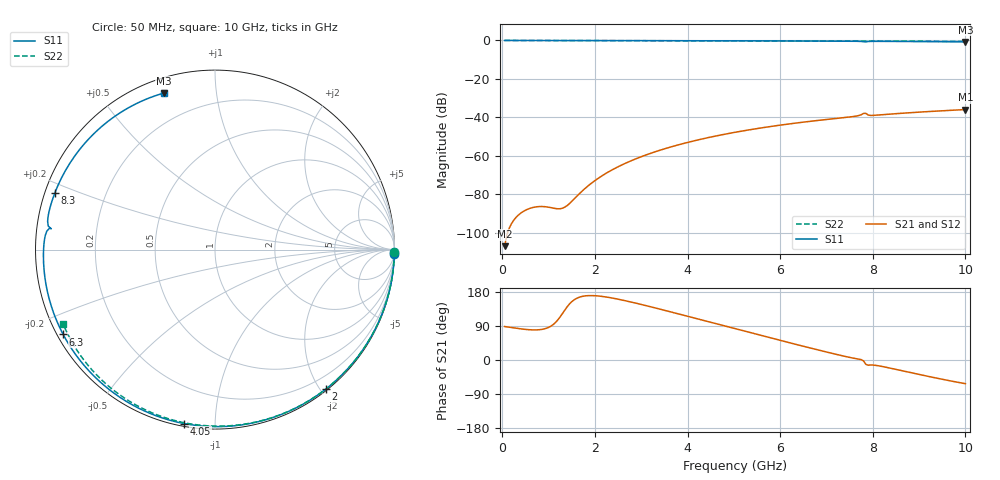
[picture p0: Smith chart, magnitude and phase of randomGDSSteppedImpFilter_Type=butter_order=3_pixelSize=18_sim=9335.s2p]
! freq	dB(S11)	phase(S11)	dB(S12)	phase(S12)
!  dB(S21)	phase(S21)	dB(S22)	phase(S22)
!S-par simulation data
#  GHz  S  DB  R 50
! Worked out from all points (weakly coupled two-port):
!   200 points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, 50 MHz to 10 GHz, reference 50 ohm
!   highest |S21| = -35.94 dB at 10 GHz (marker M1); lowest = -107.0 dB at 50 MHz (marker M2)
!   lowest |S11| = -0.7 dB at 10 GHz (marker M3), VSWR 23.23, Z = 3.28 + j36.2 ohm
!   |S11| at or under -10 dB: nowhere
!   |S22| runs from -0.5 to 0.0 dB; largest |S21 - S12| = 0
!   S11 on the Smith chart (normalised r, x): 50 MHz: 1, -86; 2 GHz: 0.02, -2.08; 4.05 GHz: 0.01, -0.84; 6.3 GHz: 0.02, -0.26; 8.3 GHz: 0.03, +0.17; 10 GHz: 0.07, +0.72
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0.05  -0.00 -1.3  -106.98 88.3  -106.98 88.3  -0.00 -0.9
0.8  -0.02 -20.9  -86.38 79.9  -86.38 79.9  -0.02 -14.3
1.65  -0.05 -42.6  -80.04 165.0  -80.04 165.0  -0.04 -29.2
1.75  -0.06 -45.2  -77.76 168.4  -77.76 168.4  -0.04 -30.9
2  -0.06 -51.4  -72.88 169.7  -72.88 169.7  -0.05 -35.2
2.3  -0.07 -58.8  -68.26 165.1  -68.26 165.1  -0.05 -40.3
2.6  -0.08 -66.1  -64.52 157.9  -64.52 157.9  -0.06 -45.4
3.4  -0.11 -85.1  -57.12 134.4  -57.12 134.4  -0.08 -58.6
4.05  -0.14 -100.1  -52.73 113.8  -52.73 113.8  -0.10 -69.0
5.05  -0.19 -122.7  -47.65 81.8  -47.65 81.8  -0.13 -84.4
5.7  -0.23 -137.2  -45.08 61.2  -45.08 61.2  -0.16 -94.1
6.3  -0.27 -150.8  -43.08 42.4  -43.08 42.4  -0.19 -102.8
6.7  -0.31 -160.0  -41.91 30.1  -41.91 30.1  -0.21 -108.5
7.6  -0.42 178.0  -39.49 4.4  -39.49 4.4  -0.27 -121.0
7.8  -0.65 172.5  -37.95 -2.4  -37.95 -2.4  -0.29 -123.8
7.85  -0.73 172.8  -37.91 -11.4  -37.91 -11.4  -0.29 -124.5
7.95  -0.48 170.4  -38.98 -13.2  -38.98 -13.2  -0.30 -125.8
8.3  -0.48 160.5  -38.44 -19.5  -38.44 -19.5  -0.33 -130.6
8.35  -0.48 159.1  -38.35 -20.8  -38.35 -20.8  -0.34 -131.3
9.15  -0.59 136.0  -37.05 -42.0  -37.05 -42.0  -0.42 -142.2
9.6  -0.67 121.7  -36.44 -53.3  -36.44 -53.3  -0.47 -148.4
10  -0.75 108.1  -35.94 -62.5  -35.94 -62.5  -0.52 -153.9
